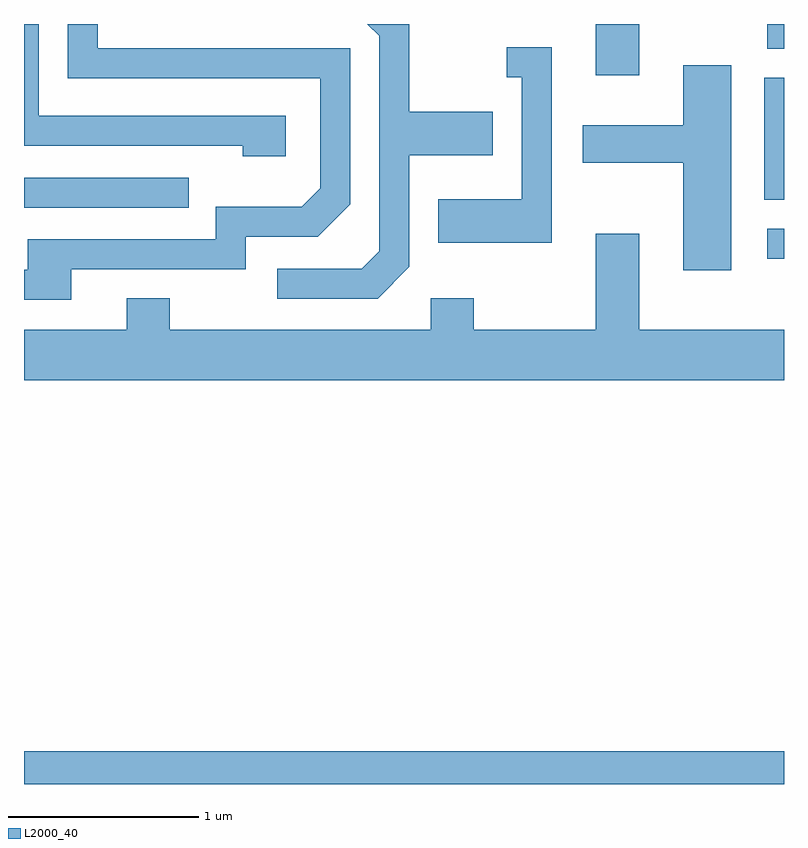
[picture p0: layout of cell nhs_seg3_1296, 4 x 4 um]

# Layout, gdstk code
import gdstk
lib = gdstk.Library(unit=1e-6, precision=1e-09)
def R(c, l, rs):  # rectangles x0, y0, x1, y1
    for r in rs: c.add(gdstk.rectangle(r[:2], r[2:], *l))
def P(c, l, *ps):  # polygons
    for p in ps: c.add(gdstk.Polygon(p, *l))
L2000_40 = (2000, 40)

nhs_seg3_1296 = lib.new_cell('nhs_seg3_1296')
R(nhs_seg3_1296, L2000_40, [(223.611,1123.892,227.611,1124.064), (227.523,1126.656,227.611,1126.814), (223.611,1126.926,224.478,1127.084), (227.506,1126.966,227.611,1127.609), (226.621,1127.621,226.849,1127.892), (227.523,1127.761,227.611,1127.892)])
P(nhs_seg3_1296, L2000_40, [(223.859,1126.601),(224.779,1126.601),(224.779,1126.771),(225.157,1126.771),(225.329,1126.944),(225.329,1127.764),(223.999,1127.764),(223.999,1127.892),(223.841,1127.892),(223.841,1127.606),(225.171,1127.606),(225.171,1127.027),(225.074,1126.929),(224.621,1126.929),(224.621,1126.759),(223.631,1126.759),(223.631,1126.599),(223.611,1126.599),(223.611,1126.441),(223.859,1126.441)],
  [(225.639,1126.614),(225.639,1127.201),(226.079,1127.201),(226.079,1127.429),(225.639,1127.429),(225.639,1127.892),(225.418,1127.892),(225.481,1127.829),(225.481,1126.697),(225.389,1126.604),(224.943,1126.604),(224.943,1126.446),(225.472,1126.446)],
  [(224.989,1127.409),(223.689,1127.409),(223.689,1127.892),(223.611,1127.892),(223.611,1127.251),(224.761,1127.251),(224.761,1127.196),(224.989,1127.196)],
  [(226.389,1127.769),(226.153,1127.769),(226.153,1127.611),(226.231,1127.611),(226.231,1126.969),(225.791,1126.969),(225.791,1126.741),(226.389,1126.741)],
  [(227.334,1127.674),(227.081,1127.674),(227.081,1127.359),(226.551,1127.359),(226.551,1127.161),(227.081,1127.161),(227.081,1126.596),(227.334,1126.596)],
  [(227.611,1126.284),(226.849,1126.284),(226.849,1126.789),(226.621,1126.789),(226.621,1126.284),(225.979,1126.284),(225.979,1126.449),(225.751,1126.449),(225.751,1126.284),(224.379,1126.284),(224.379,1126.449),(224.151,1126.449),(224.151,1126.284),(223.611,1126.284),(223.611,1126.016),(227.611,1126.016)])

lib.write_gds('nhs_seg3_1296.gds')
